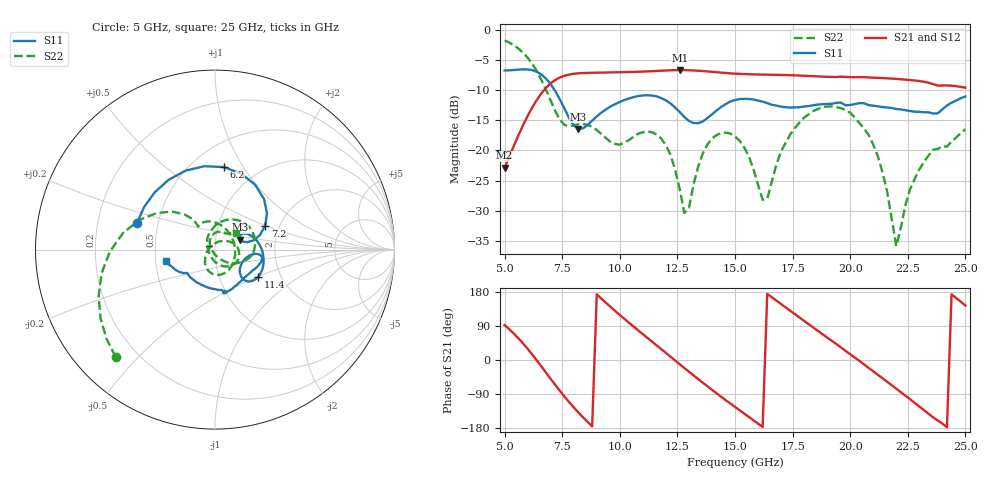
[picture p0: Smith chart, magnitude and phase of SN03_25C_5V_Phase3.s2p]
!File name = SN03_25C_5V_Phase3.s2p
!Date = 2/3/2014
!Time = 2:34 PM
!Test duration(min) = 0.07
!Test = SPars
!MPTS version = 7.120.8
!Comments =
!set_LD1(binary) = 3
!set_LD2(binary) = 524284
!test = SPars
!date_code = 20140203
!file_name = SN03_25C_5V_Phase3.s2p
!VREF(V) = 5.000
!VREF(mA) = 0.002
# GHz  S  DB  R  50
!%	Freq(GHz)  S11(dB)  S11(deg)  S21(dB)  S21(deg)  S12(dB)  S12(deg)  S22(dB)  S22(deg)
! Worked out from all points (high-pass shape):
!   101 points, 5 GHz to 25 GHz, reference 50 ohm
!   highest |S21| = -6.70 dB at 12.6 GHz (marker M1); lowest = -22.9 dB at 5 GHz (marker M2)
!   |S21| within 3 dB of the highest: 6.784 GHz to end of sweep
!   lowest |S11| = -16.5 dB at 8.2 GHz (marker M3), VSWR 1.35, Z = 65.8 + j7.48 ohm
!   |S11| at or under -10 dB: 7.169 GHz to end of sweep
!   |S22| runs from -35.9 to -1.8 dB; largest |S21 - S12| = 0.00082
!   S11 on the Smith chart (normalised r, x): 5 GHz: 0.38, +0.14; 6.2 GHz: 0.70, +0.82; 7.2 GHz: 1.68, +0.50; 11.4 GHz: 1.54, -0.50; 25 GHz: 0.57, -0.08
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5  -6.75 161.0  -22.88 92.1  -22.89 92.1  -1.78 -132.8
6.2  -6.70 84.0  -12.88 14.4  -12.89 14.5  -5.66 169.9
7.2  -10.18 25.5  -8.33 -65.9  -8.35 -65.9  -13.50 126.3
8.2  -16.46 21.7  -7.23 -138.3  -7.24 -138.3  -15.68 119.4
8.4  -16.35 27.0  -7.19 -151.0  -7.19 -151.1  -15.62 113.0
9.2  -13.73 24.3  -7.11 162.0  -7.11 161.9  -17.28 71.6
10  -11.97 4.9  -7.04 118.9  -7.05 118.9  -19.05 2.9
11.4  -10.91 -31.8  -6.87 48.3  -6.89 48.4  -16.99 -87.7
11.8  -11.34 -40.0  -6.80 28.6  -6.81 28.6  -18.04 -106.7
12.6  -13.64 -45.8  -6.70 -11.1  -6.70 -11.1  -26.43 -163.3
12.8  -14.47 -42.9  -6.70 -21.0  -6.71 -21.0  -30.36 156.9
13.8  -14.64 -12.4  -6.91 -69.2  -6.92 -69.2  -19.05 17.2
15  -11.66 -7.9  -7.28 -123.8  -7.29 -123.8  -17.69 -41.7
16.4  -12.17 -25.9  -7.45 174.4  -7.46 174.4  -28.02 174.8
17.2  -12.86 -40.9  -7.51 138.8  -7.52 138.7  -18.71 97.0
18.4  -12.52 -65.2  -7.71 85.5  -7.72 85.5  -13.48 49.5
20.6  -12.20 -78.7  -7.86 -11.7  -7.86 -11.8  -16.38 -28.8
21.2  -12.70 -79.7  -7.98 -39.0  -7.98 -39.0  -20.95 -49.1
21.8  -12.97 -86.2  -8.10 -66.5  -8.10 -66.6  -31.34 -93.1
22  -13.14 -89.9  -8.15 -75.8  -8.15 -75.8  -35.87 -138.3
23  -13.60 -119.8  -8.50 -122.7  -8.50 -122.8  -23.17 112.1
25  -11.07 -167.0  -9.61 143.8  -9.62 143.8  -16.50 37.3
